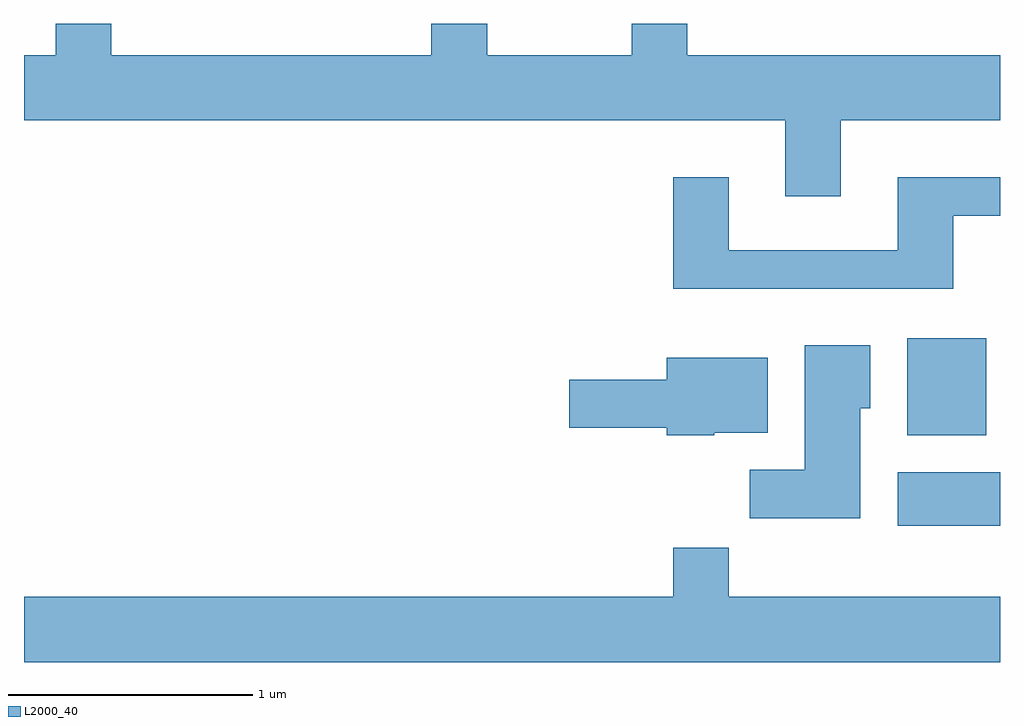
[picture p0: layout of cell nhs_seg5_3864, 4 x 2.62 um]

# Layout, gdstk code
import gdstk
lib = gdstk.Library(unit=1e-6, precision=1e-09)
def R(c, l, rs):  # rectangles x0, y0, x1, y1
    for r in rs: c.add(gdstk.rectangle(r[:2], r[2:], *l))
def P(c, l, *ps):  # polygons
    for p in ps: c.add(gdstk.Polygon(p, *l))
L2000_40 = (2000, 40)

nhs_seg5_3864 = lib.new_cell('nhs_seg5_3864')
R(nhs_seg5_3864, L2000_40, [(303.191,1464.016,303.611,1464.234), (303.231,1464.386,303.554,1464.784)])
P(nhs_seg5_3864, L2000_40, [(302.959,1465.676),(303.611,1465.676),(303.611,1465.944),(302.329,1465.944),(302.329,1466.072),(302.101,1466.072),(302.101,1465.944),(301.509,1465.944),(301.509,1466.072),(301.281,1466.072),(301.281,1465.944),(299.969,1465.944),(299.969,1466.072),(299.741,1466.072),(299.741,1465.944),(299.611,1465.944),(299.611,1465.676),(302.731,1465.676),(302.731,1465.366),(302.959,1465.366)],
  [(303.419,1465.286),(303.611,1465.286),(303.611,1465.444),(303.191,1465.444),(303.191,1465.144),(302.499,1465.144),(302.499,1465.444),(302.271,1465.444),(302.271,1464.986),(303.419,1464.986)],
  [(303.039,1464.496),(303.079,1464.496),(303.079,1464.754),(302.811,1464.754),(302.811,1464.244),(302.586,1464.244),(302.586,1464.046),(303.039,1464.046)],
  [(302.44,1464.396),(302.659,1464.396),(302.659,1464.704),(302.246,1464.704),(302.246,1464.614),(301.846,1464.614),(301.846,1464.416),(302.246,1464.416),(302.246,1464.386),(302.44,1464.386)],
  [(303.611,1463.724),(302.499,1463.724),(302.499,1463.924),(302.271,1463.924),(302.271,1463.724),(299.611,1463.724),(299.611,1463.456),(303.611,1463.456)])

lib.write_gds('nhs_seg5_3864.gds')
